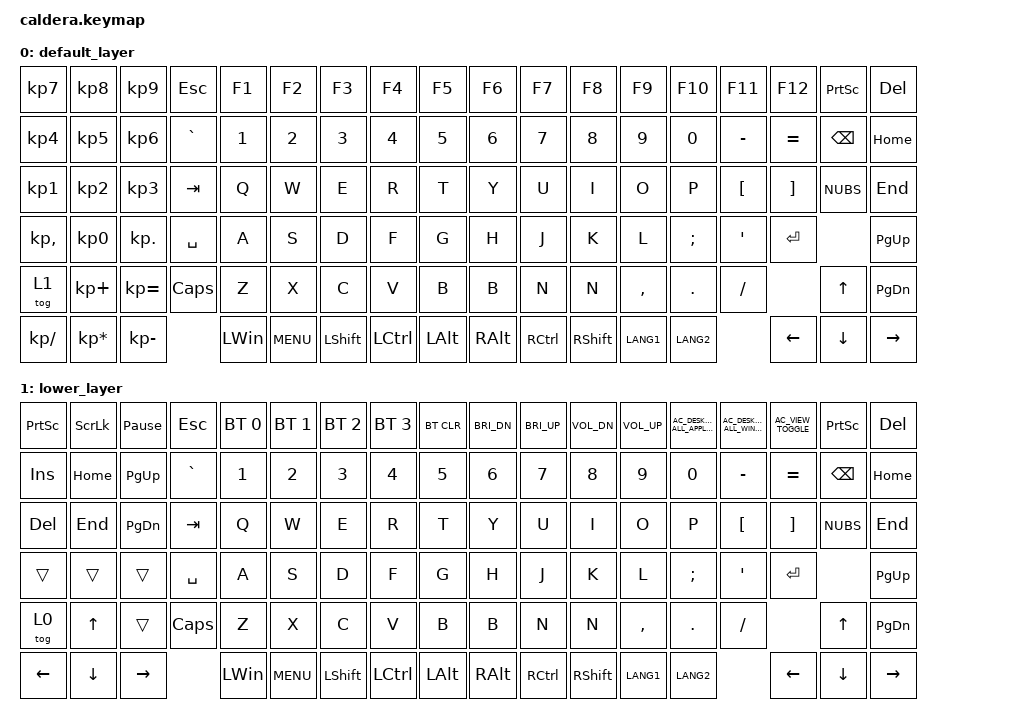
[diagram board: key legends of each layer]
#include <behaviors.dtsi>
#include <dt-bindings/zmk/bt.h>
#include <dt-bindings/zmk/keys.h>

/ {
    keymap {
        compatible = "zmk,keymap";

        default_layer {
            bindings = <
&kp KP_N7     &kp KP_N8        &kp KP_N9     &kp ESC    &kp F1    &kp F2        &kp F3      &kp F4     &kp F5      &kp F6    &kp F7     &kp F8      &kp F9     &kp F10    &kp F11    &kp F12    &kp PSCRN  &kp DEL
&kp KP_N4     &kp KP_N5        &kp KP_N6     &kp GRAVE  &kp N1    &kp N2        &kp N3      &kp N4     &kp N5      &kp N6    &kp N7     &kp N8      &kp N9     &kp N0     &kp MINUS  &kp EQUAL  &kp BSPC   &kp HOME
&kp KP_N1     &kp KP_N2        &kp KP_N3     &kp TAB    &kp Q     &kp W         &kp E       &kp R      &kp T       &kp Y     &kp U      &kp I       &kp O      &kp P      &kp LBKT   &kp RBKT   &kp NUBS   &kp END
&kp KP_COMMA  &kp KP_N0        &kp KP_DOT    &kp SPACE  &kp A     &kp S         &kp D       &kp F      &kp G       &kp H     &kp J      &kp K       &kp L      &kp SEMI   &kp APOS   &kp ENTER             &kp PG_UP
&tog 1        &kp KP_PLUS      &kp KP_EQUAL  &kp CAPS   &kp Z     &kp X         &kp C       &kp V      &kp B       &kp B     &kp N      &kp N       &kp COMMA  &kp DOT    &kp SLASH             &kp UP     &kp PG_DN
&kp KP_SLASH  &kp KP_MULTIPLY  &kp KP_MINUS             &kp LWIN  &kp K_MENU    &kp LSHIFT  &kp LCTRL  &kp LALT    &kp RALT  &kp RCTRL  &kp RSHIFT  &kp LANG1  &kp LANG2             &kp LEFT   &kp DOWN   &kp RIGHT
            >;
        };

        lower_layer {
            bindings = <
&kp PSCRN  &kp SLCK  &kp PAUSE_BREAK  &kp ESC    &bt BT_SEL 0  &bt BT_SEL 1  &bt BT_SEL 2  &bt BT_SEL 3  &bt BT_CLR    &kp C_BRI_DN  &kp C_BRI_UP  &kp C_VOL_DN  &kp C_VOL_UP  &kp C_AC_DESKTOP_SHOW_ALL_APPLICATIONS  &kp C_AC_DESKTOP_SHOW_ALL_WINDOWS  &kp C_AC_VIEW_TOGGLE  &kp PSCRN  &kp DEL
&kp INS    &kp HOME  &kp PG_UP        &kp GRAVE  &kp N1        &kp N2        &kp N3        &kp N4        &kp N5        &kp N6        &kp N7        &kp N8        &kp N9        &kp N0                                  &kp MINUS                          &kp EQUAL             &kp BSPC   &kp HOME
&kp DEL    &kp END   &kp PG_DN        &kp TAB    &kp Q         &kp W         &kp E         &kp R         &kp T         &kp Y         &kp U         &kp I         &kp O         &kp P                                   &kp LBKT                           &kp RBKT              &kp NUBS   &kp END
&trans     &trans    &trans           &kp SPACE  &kp A         &kp S         &kp D         &kp F         &kp G         &kp H         &kp J         &kp K         &kp L         &kp SEMI                                &kp APOS                           &kp ENTER                        &kp PG_UP
&tog 0     &kp UP    &trans           &kp CAPS   &kp Z         &kp X         &kp C         &kp V         &kp B         &kp B         &kp N         &kp N         &kp COMMA     &kp DOT                                 &kp SLASH                                                &kp UP     &kp PG_DN
&kp LEFT   &kp DOWN  &kp RIGHT                   &kp LWIN      &kp K_MENU    &kp LSHIFT    &kp LCTRL     &kp LALT      &kp RALT      &kp RCTRL     &kp RSHIFT    &kp LANG1     &kp LANG2                                                                  &kp LEFT              &kp DOWN   &kp RIGHT
            >;
        };
    };
};
